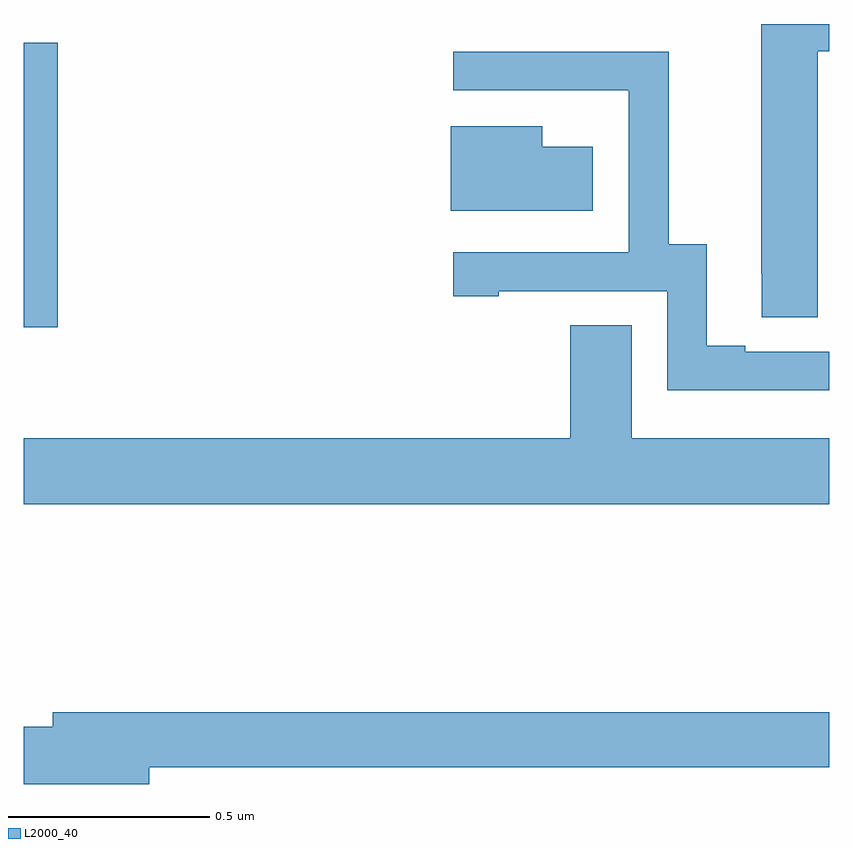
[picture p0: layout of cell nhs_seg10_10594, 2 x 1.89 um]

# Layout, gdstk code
import gdstk
lib = gdstk.Library(unit=1e-6, precision=1e-09)
def R(c, l, rs):  # rectangles x0, y0, x1, y1
    for r in rs: c.add(gdstk.rectangle(r[:2], r[2:], *l))
def P(c, l, *ps):  # polygons
    for p in ps: c.add(gdstk.Polygon(p, *l))
L2000_40 = (2000, 40)

nhs_seg10_10594 = lib.new_cell('nhs_seg10_10594')
R(nhs_seg10_10594, L2000_40, [(244,1308.747,244.085,1309.453)])
P(nhs_seg10_10594, L2000_40, [(245.971,1309.432),(246,1309.432),(246,1309.5),(245.831,1309.5),(245.831,1308.88),(245.832,1308.88),(245.832,1308.772),(245.971,1308.772)],
  [(246,1308.687),(245.791,1308.687),(245.791,1308.702),(245.695,1308.702),(245.695,1308.953),(245.601,1308.953),(245.601,1309.431),(245.067,1309.431),(245.067,1309.335),(245.501,1309.335),(245.501,1309.334),(245.502,1309.334),(245.502,1308.933),(245.067,1308.933),(245.067,1308.825),(245.179,1308.825),(245.179,1308.837),(245.598,1308.837),(245.598,1308.591),(246,1308.591)],
  [(245.413,1309.195),(245.287,1309.195),(245.287,1309.246),(245.06,1309.246),(245.06,1309.037),(245.413,1309.037)],
  [(246,1308.472),(245.509,1308.472),(245.509,1308.752),(245.357,1308.752),(245.357,1308.472),(244,1308.472),(244,1308.308),(246,1308.308)],
  [(244.312,1307.656),(246,1307.656),(246,1307.792),(244.073,1307.792),(244.073,1307.756),(244,1307.756),(244,1307.614),(244.312,1307.614)])

lib.write_gds('nhs_seg10_10594.gds')
